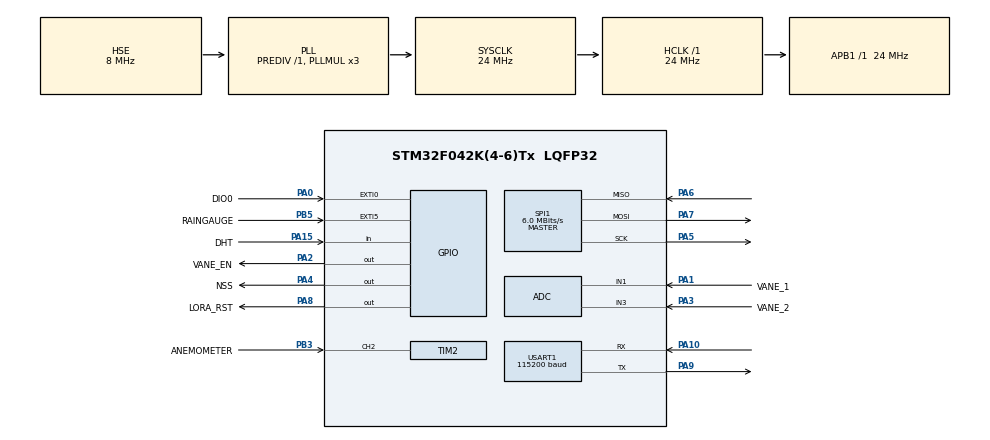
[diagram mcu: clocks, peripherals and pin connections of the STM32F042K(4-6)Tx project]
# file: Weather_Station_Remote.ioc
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ADC.ClockPrescaler=ADC_CLOCK_SYNC_PCLK_DIV4
ADC.SamplingTime=ADC_SAMPLETIME_239CYCLES_5
Mcu.Family=STM32F0
Mcu.Name=STM32F042K(4-6)Tx
Mcu.Package=LQFP32
NVIC.EXTI4_15_IRQn=true\:0\:0\:false\:false\:true\:true
NVIC.TIM14_IRQn=true\:0\:0\:false\:false\:true\:true
NVIC.TIM2_IRQn=true\:0\:0\:false\:false\:true\:true
PA0.GPIO_Label=DIO0
PA0.Signal=GPXTI0
PA1.GPIO_Label=VANE_1
PA1.Mode=IN1
PA1.Signal=ADC_IN1
PA10.Mode=Asynchronous
PA10.Signal=USART1_RX
PA13.Mode=Serial_Wire
PA13.Signal=SYS_SWDIO
PA14.Mode=Serial_Wire
PA14.Signal=SYS_SWCLK
PA15.GPIO_Label=DHT
PA15.Signal=GPIO_Input
PA2.GPIO_Label=VANE_EN
PA2.PinState=GPIO_PIN_SET
PA2.Signal=GPIO_Output
PA3.GPIO_Label=VANE_2
PA3.Mode=IN3
PA3.Signal=ADC_IN3
PA4.GPIO_Label=NSS
PA4.PinState=GPIO_PIN_SET
PA4.Signal=GPIO_Output
PA5.Mode=Full_Duplex_Master
PA5.Signal=SPI1_SCK
PA6.Mode=Full_Duplex_Master
PA6.Signal=SPI1_MISO
PA7.Mode=Full_Duplex_Master
PA7.Signal=SPI1_MOSI
PA8.GPIO_Label=LORA_RST
PA8.Signal=GPIO_Output
PA9.Mode=Asynchronous
PA9.Signal=USART1_TX
PB3.GPIO_Label=ANEMOMETER
PB3.Signal=S_TIM2_CH2
PB5.GPIO_Label=RAINGAUGE
PB5.Signal=GPXTI5
PF0-OSC_IN.Mode=HSE-External-Oscillator
PF0-OSC_IN.Signal=RCC_OSC_IN
PF1-OSC_OUT.Mode=HSE-External-Oscillator
PF1-OSC_OUT.Signal=RCC_OSC_OUT
ProjectManager.HeapSize=0x200
ProjectManager.StackSize=0x400
ProjectManager.TargetToolchain=Makefile
RCC.AHBFreq_Value=24000000
RCC.APB1Freq_Value=24000000
RCC.APB1TimFreq_Value=24000000
RCC.EnbaleCSS=true
RCC.HCLKFreq_Value=24000000
RCC.PLLMUL=RCC_PLL_MUL3
RCC.PLLSourceVirtual=RCC_PLLSOURCE_HSE
RCC.SYSCLKFreq_VALUE=24000000
RCC.SYSCLKSource=RCC_SYSCLKSOURCE_PLLCLK
RCC.Usart1ClockSelection=RCC_USART1CLKSOURCE_SYSCLK
SH.S_TIM2_CH2.0=TIM2_CH2,Input_Capture2_from_TI2
SPI1.BaudRatePrescaler=SPI_BAUDRATEPRESCALER_4
SPI1.CalculateBaudRate=6.0 MBits/s
SPI1.DataSize=SPI_DATASIZE_8BIT
SPI1.Direction=SPI_DIRECTION_2LINES
SPI1.Mode=SPI_MODE_MASTER
SPI1.VirtualType=VM_MASTER
TIM14.AutoReloadPreload=TIM_AUTORELOAD_PRELOAD_DISABLE
TIM14.ClockDivision=TIM_CLOCKDIVISION_DIV1
TIM14.Period=60000
TIM14.Prescaler=23999
TIM17.AutoReloadPreload=TIM_AUTORELOAD_PRELOAD_ENABLE
TIM17.Period=0xffff
TIM17.Prescaler=23
TIM2.Channel-Input_Capture2_from_TI2=TIM_CHANNEL_2
TIM2.ICFilter_CH2=15
TIM2.ICPolarity_CH2=TIM_INPUTCHANNELPOLARITY_RISING
TIM2.Period=4999
TIM2.Prescaler=24999
USART1.BaudRate=115200
USART1.VirtualMode-Asynchronous=VM_ASYNC
USART1.WordLength=WORDLENGTH_8B
VP_ADC_Vref_Input.Mode=IN-Vrefint
VP_TIM14_VS_ClockSourceINT.Mode=Enable_Timer
VP_TIM17_VS_ClockSourceINT.Mode=Enable_Timer
VP_TIM2_VS_ClockSourceINT.Mode=Internal
board=Weather_Station_Remote

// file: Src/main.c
/**
  ******************************************************************************
  * @file           : main.c
  * @brief          : Main program body
  ******************************************************************************
  ** This notice applies to any and all portions of this file
  * that are not between comment pairs USER CODE BEGIN and
  * USER CODE END. Other portions of this file, whether
  * inserted by the user or by software development tools
  * are owned by their respective copyright owners.
  *
  * COPYRIGHT(c) 2018 STMicroelectronics
  *
  * Redistribution and use in source and binary forms, with or without modification,
  * are permitted provided that the following conditions are met:
  *   1. Redistributions of source code must retain the above copyright notice,
  *      this list of conditions and the following disclaimer.
  *   2. Redistributions in binary form must reproduce the above copyright notice,
  *      this list of conditions and the following disclaimer in the documentation
  *      and/or other materials provided with the distribution.
  *   3. Neither the name of STMicroelectronics nor the names of its contributors
  *      may be used to endorse or promote products derived from this software
  *      without specific prior written permission.
  *
  * THIS SOFTWARE IS PROVIDED BY THE COPYRIGHT HOLDERS AND CONTRIBUTORS "AS IS"
  * AND ANY EXPRESS OR IMPLIED WARRANTIES, INCLUDING, BUT NOT LIMITED TO, THE
  * IMPLIED WARRANTIES OF MERCHANTABILITY AND FITNESS FOR A PARTICULAR PURPOSE ARE
  * DISCLAIMED. IN NO EVENT SHALL THE COPYRIGHT HOLDER OR CONTRIBUTORS BE LIABLE
  * FOR ANY DIRECT, INDIRECT, INCIDENTAL, SPECIAL, EXEMPLARY, OR CONSEQUENTIAL
  * DAMAGES (INCLUDING, BUT NOT LIMITED TO, PROCUREMENT OF SUBSTITUTE GOODS OR
  * SERVICES; LOSS OF USE, DATA, OR PROFITS; OR BUSINESS INTERRUPTION) HOWEVER
  * CAUSED AND ON ANY THEORY OF LIABILITY, WHETHER IN CONTRACT, STRICT LIABILITY,
  * OR TORT (INCLUDING NEGLIGENCE OR OTHERWISE) ARISING IN ANY WAY OUT OF THE USE
  * OF THIS SOFTWARE, EVEN IF ADVISED OF THE POSSIBILITY OF SUCH DAMAGE.
  *
  ******************************************************************************
  */
#include "main.h"
#include "stm32f0xx_hal.h"
#include "adc.h"
#include "spi.h"
#include "tim.h"
#include "usart.h"
#include "gpio.h"

/* USER CODE BEGIN Includes */
#include "LoRa.h"
#include <stdbool.h>
#include "dht22.h"
/* USER CODE END Includes */

/* USER CODE BEGIN PV */
/* Private variables ---------------------------------------------------------*/
#define DEBUG 1
volatile bool isAnemometerDone = false;
volatile uint32_t period = 0;
volatile bool isMeasure = false;
volatile bool rainfall = false;
uint16_t last_temp = 0, last_rh = 0;
/* USER CODE END PV */

void SystemClock_Config(void);

/* USER CODE BEGIN PFP */
/* Private function prototypes -----------------------------------------------*/
void LoRa_Init(void);
/* USER CODE END PFP */

/* USER CODE BEGIN 0 */
void HAL_TIM_IC_CaptureCallback(TIM_HandleTypeDef *htim)
{
  if (htim->Instance == TIM2)
  {
    period = __HAL_TIM_GET_COMPARE(htim, TIM_CHANNEL_2);
    __HAL_TIM_SET_COUNTER(htim, 0);
    isAnemometerDone = true;
  }
}

void HAL_TIM_PeriodElapsedCallback(TIM_HandleTypeDef *htim)
{
  if (htim->Instance == TIM14)
  {
    isMeasure = true;
  }
}

void HAL_GPIO_EXTI_Callback(uint16_t GPIO_Pin)
{
  switch (GPIO_Pin)
  {
  case RAINGAUGE_Pin:
    rainfall = 1;
    break;
  case DIO0_Pin:
    LoRa_OnDioRise();
    break;
  }
}

void OnReceive(int packetsize)
{
  uint8_t buf[packetsize];

  int i;
  for (i = 0; i < packetsize; i++)
  {
    buf[i] = (char)LoRa_Read();
  }
  HAL_UART_Transmit(&huart1, &buf, packetsize, 1000);
  HAL_UART_Transmit(&huart1, (uint8_t *)"\r\n", 2, 1000);
}

/* USER CODE END 0 */

int main(void)
{

  /* MCU Configuration----------------------------------------------------------*/

  /* Reset of all peripherals, Initializes the Flash interface and the Systick. */
  HAL_Init();

  /* Configure the system clock */
  SystemClock_Config();

  /* USER CODE BEGIN SysInit */
  uint32_t reset_reson = RCC->CSR;
  /* USER CODE END SysInit */

  /* Initialize all configured peripherals */
  MX_GPIO_Init();
  MX_SPI1_Init();
  MX_ADC_Init();
  MX_TIM2_Init();
  MX_TIM14_Init();
  MX_USART1_UART_Init();
  MX_TIM17_Init();
  /* USER CODE BEGIN 2 */
  LoRa_Init();
  LoRa_onReceive(OnReceive);
  HAL_TIM_IC_Start_IT(&htim2, TIM_CHANNEL_2);
  HAL_TIM_Base_Start_IT(&htim14);

  HAL_UART_Transmit(&huart1, "Boot\n", 6, 1000);
  if (reset_reson != 0x00000000)
  {
    uint8_t packet[6] = {6, 4, (uint8_t)(reset_reson >> 24), (uint8_t)(reset_reson >> 16), (uint8_t)(reset_reson >> 8), (uint8_t)(reset_reson)};
    LoRa_Transmit(packet, 6);
  }
  /* USER CODE END 2 */

  /* Infinite loop */
  while (1)
  {

    /* USER CODE BEGIN 3 */
    //LoRa_Receive();
    HAL_UART_Transmit(&huart1, "Loop Start\n", 11, 1000);

    if (isMeasure)
    {
      HAL_UART_Transmit(&huart1, "Measuring...\n", 12, 1000);
      DHT22_sample();

      uint16_t TEMP = DHT22_getTemperature();
      uint16_t RH = DHT22_getHumidity();
      char b[100];
      int len = sprintf(b, "last_temp: %u temp: %u last_hum:%u hum: %u\n", last_temp, TEMP, last_rh, RH);
      HAL_UART_Transmit(&huart1, b, len, 1000);

      uint8_t packet[8] = {4, 2, (uint8_t)(TEMP >> 8), (uint8_t)TEMP, 5, 2, (uint8_t)(RH >> 8), (uint8_t)RH};

      LoRa_Transmit(packet, 8);
      isMeasure = false;
    }

    if (isAnemometerDone)
    {
      HAL_GPIO_WritePin(VANE_EN_GPIO_Port, VANE_EN_Pin, GPIO_PIN_RESET);

      uint16_t adc_raw[3];
      HAL_ADCEx_Calibration_Start(&hadc);
      HAL_ADC_Start(&hadc);
      int i;
      for (i = 0; i < 3; i++)
      {
        if (HAL_ADC_PollForConversion(&hadc, 500) == HAL_OK)
        {
          adc_raw[i] = HAL_ADC_GetValue(&hadc);
        }
      }
      HAL_ADC_Stop(&hadc);

      HAL_GPIO_WritePin(VANE_EN_GPIO_Port, VANE_EN_Pin, GPIO_PIN_SET);

      uint8_t dir = 0;
      if (adc_raw[0] > adc_raw[1])
      {
        if (adc_raw[1] > 1800)
        {
          dir = 0;
        }
        else if (adc_raw[1] <= 1800)
        {
          dir = 1;
        }
      }
      else if (adc_raw[0] < adc_raw[1])
      {
        if (adc_raw[1] > 2800)
        {
          dir = 2;
        }
        else if (adc_raw[1] <= 2800)
        {
          dir = 3;
        }
      }

      uint16_t vdd = 3300 * (float)(*((uint16_t *)((uint32_t)0x1FFFF7BA))) / adc_raw[2];
      double vel = 0;
      if (period > 0)
        vel = 0.6142 * (1.0 / ((double)period / 1000.0)) + 0.3098;
      int vel_int = (int)(vel * 1000);

      uint8_t packet[7] = {1, 2, (uint8_t)(vel_int >> 8), (uint8_t)vel_int, 2, 1, (uint8_t)dir};
      LoRa_Transmit(packet, 7);
#if DEBUG
      char buffer[500];
      int len_ = sprintf(buffer, "speed: %d dir: %d adc0: %u adc1:%u vcc: %u rain: %d\n", vel_int, dir, adc_raw[0], adc_raw[1], vdd, rainfall);
      HAL_UART_Transmit(&huart1, &buffer, len_, 1000);
#endif
      isAnemometerDone = false;
    }

    if (rainfall)
    {
      uint8_t packet[3] = {3, 1, 1};
      LoRa_Transmit(packet, 3);
      rainfall = 0;
    }

    HAL_UART_Transmit(&huart1, "Loop Done\n", 10, 1000);

    LoRa_Sleep();
    HAL_SuspendTick();
    HAL_PWR_EnterSLEEPMode(PWR_MAINREGULATOR_ON, PWR_SLEEPENTRY_WFI);
    HAL_ResumeTick();
    HAL_UART_Transmit(&huart1, "Resume Loop\n", 12, 1000);
  }
  /* USER CODE END 3 */
}

void SystemClock_Config(void)
{

  RCC_OscInitTypeDef RCC_OscInitStruct;
  RCC_ClkInitTypeDef RCC_ClkInitStruct;
  RCC_PeriphCLKInitTypeDef PeriphClkInit;

  /**Initializes the CPU, AHB and APB busses clocks
    */
  RCC_OscInitStruct.OscillatorType = RCC_OSCILLATORTYPE_HSE;
  RCC_OscInitStruct.HSEState = RCC_HSE_ON;
  RCC_OscInitStruct.PLL.PLLState = RCC_PLL_ON;
  RCC_OscInitStruct.PLL.PLLSource = RCC_PLLSOURCE_HSE;
  RCC_OscInitStruct.PLL.PLLMUL = RCC_PLL_MUL3;
  RCC_OscInitStruct.PLL.PREDIV = RCC_PREDIV_DIV1;
  if (HAL_RCC_OscConfig(&RCC_OscInitStruct) != HAL_OK)
  {
    _Error_Handler(__FILE__, __LINE__);
  }

  /**Initializes the CPU, AHB and APB busses clocks
    */
  RCC_ClkInitStruct.ClockType = RCC_CLOCKTYPE_HCLK | RCC_CLOCKTYPE_SYSCLK | RCC_CLOCKTYPE_PCLK1;
  RCC_ClkInitStruct.SYSCLKSource = RCC_SYSCLKSOURCE_PLLCLK;
  RCC_ClkInitStruct.AHBCLKDivider = RCC_SYSCLK_DIV1;
  RCC_ClkInitStruct.APB1CLKDivider = RCC_HCLK_DIV1;

  if (HAL_RCC_ClockConfig(&RCC_ClkInitStruct, FLASH_LATENCY_0) != HAL_OK)
  {
    _Error_Handler(__FILE__, __LINE__);
  }

  PeriphClkInit.PeriphClockSelection = RCC_PERIPHCLK_USART1;
  PeriphClkInit.Usart1ClockSelection = RCC_USART1CLKSOURCE_SYSCLK;
  if (HAL_RCCEx_PeriphCLKConfig(&PeriphClkInit) != HAL_OK)
  {
    _Error_Handler(__FILE__, __LINE__);
  }

  /**Enables the Clock Security System
    */
  HAL_RCC_EnableCSS();

  /**Configure the Systick interrupt time
    */
  HAL_SYSTICK_Config(HAL_RCC_GetHCLKFreq() / 1000);

  /**Configure the Systick
    */
  HAL_SYSTICK_CLKSourceConfig(SYSTICK_CLKSOURCE_HCLK);

  /* SysTick_IRQn interrupt configuration */
  HAL_NVIC_SetPriority(SysTick_IRQn, 0, 0);
}

/* USER CODE BEGIN 4 */

void LoRa_Init(void)
{
  lora.dio0.Port = GPIOA;
  lora.dio0.Pin = GPIO_PIN_0;
  lora.reset.Port = GPIOA;
  lora.reset.Pin = GPIO_PIN_8;
  lora.ss.Port = GPIOA;
  lora.ss.Pin = GPIO_PIN_4;
  lora.hspi = &hspi1;

  if (LoRa_Begin(4333E5) != HAL_OK)
  {
#if DEBUG
    HAL_UART_Transmit(&huart1, (uint8_t *)"Error\r\n", 7, 1000);
#endif
  }
}

/* USER CODE END 4 */

void _Error_Handler(char *file, int line)
{
  while (1)
  {
  }
}

/************************ (C) COPYRIGHT STMicroelectronics *****END OF FILE****/
